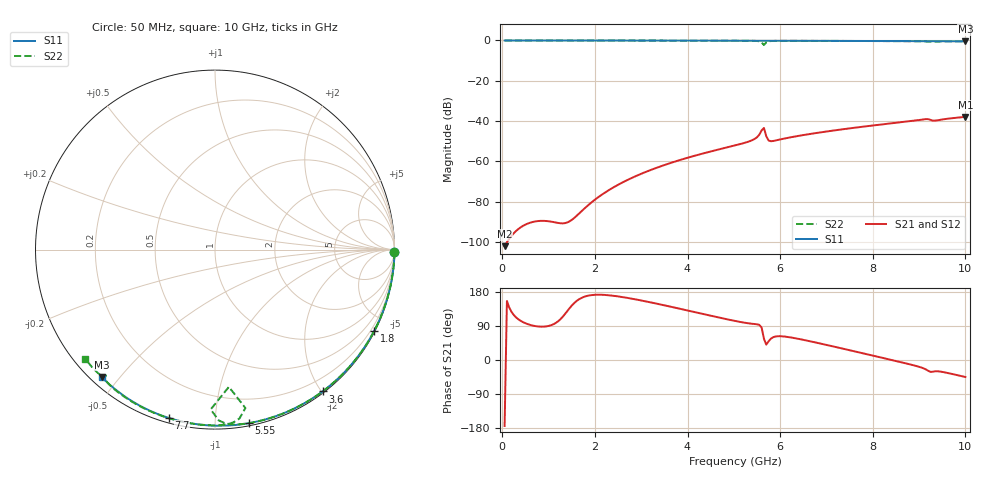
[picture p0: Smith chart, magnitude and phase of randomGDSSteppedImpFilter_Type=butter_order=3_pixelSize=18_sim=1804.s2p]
! freq	dB(S11)	phase(S11)	dB(S12)	phase(S12)
!  dB(S21)	phase(S21)	dB(S22)	phase(S22)
!S-par simulation data
#  GHz  S  DB  R 50
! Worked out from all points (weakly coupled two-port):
!   200 points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, 50 MHz to 10 GHz, reference 50 ohm
!   highest |S21| = -37.91 dB at 10 GHz (marker M1); lowest = -102.1 dB at 50 MHz (marker M2)
!   lowest |S11| = -0.4 dB at 10 GHz (marker M3), VSWR 39.05, Z = 1.54 - j22.4 ohm
!   |S11| at or under -10 dB: nowhere
!   |S22| runs from -2.3 to 0.0 dB; largest |S21 - S12| = 0
!   S11 on the Smith chart (normalised r, x): 50 MHz: open; 1.8 GHz: 0.04, -4.16; 3.6 GHz: 0.02, -2.01; 5.55 GHz: 0.02, -1.22; 7.7 GHz: 0.02, -0.76; 10 GHz: 0.03, -0.45
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0.05  -0.00 -0.8  -102.08 -174.2  -102.08 -174.2  -0.00 -0.8
0.9  -0.02 -13.6  -89.51 88.1  -89.51 88.1  -0.02 -14.6
1.75  -0.03 -26.3  -83.89 166.0  -83.89 166.0  -0.04 -28.1
1.8  -0.03 -27.0  -82.84 168.1  -82.84 168.1  -0.04 -28.8
1.95  -0.04 -29.2  -79.92 171.6  -79.92 171.6  -0.04 -31.2
2.55  -0.05 -38.0  -70.99 166.9  -70.99 166.9  -0.05 -40.5
3.4  -0.07 -50.1  -62.62 147.0  -62.62 147.0  -0.07 -53.4
3.6  -0.07 -52.8  -61.04 141.6  -61.04 141.6  -0.08 -56.4
5.05  -0.11 -72.4  -51.95 102.5  -51.95 102.5  -0.12 -77.8
5.4  -0.12 -77.0  -49.45 95.5  -49.45 95.5  -0.18 -83.9
5.55  -0.13 -78.9  -46.75 92.7  -46.75 92.7  -0.43 -88.7
5.6  -0.13 -79.5  -44.61 85.5  -44.61 85.5  -1.01 -91.5
5.65  -0.13 -80.2  -43.43 56.1  -43.43 56.1  -2.28 -84.2
5.7  -0.13 -80.8  -47.51 40.7  -47.51 40.7  -0.93 -79.1
5.75  -0.14 -81.4  -49.63 49.2  -49.63 49.2  -0.44 -81.8
5.8  -0.14 -82.1  -50.00 56.4  -50.00 56.4  -0.30 -83.7
6.7  -0.18 -93.3  -46.20 48.0  -46.20 48.0  -0.20 -98.5
7.7  -0.24 -105.3  -43.04 20.2  -43.04 20.2  -0.26 -111.6
8.35  -0.29 -112.9  -41.27 1.7  -41.27 1.7  -0.31 -119.8
9.15  -0.36 -122.1  -39.02 -25.1  -39.02 -25.1  -0.51 -130.5
9.35  -0.38 -124.3  -39.77 -29.8  -39.77 -29.8  -0.54 -131.3
10  -0.44 -131.7  -37.91 -44.9  -37.91 -44.9  -0.49 -140.0
